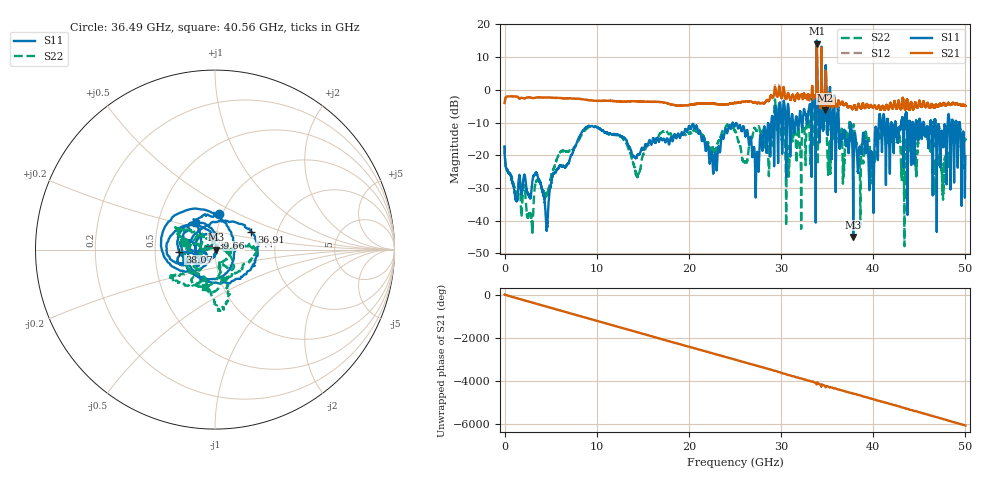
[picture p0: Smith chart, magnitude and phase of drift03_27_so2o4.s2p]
!Created with skrf (http://scikit-rf.org).
# Hz S RI R 50.0
!freq ReS11 ImS11 ReS21 ImS21 ReS12 ImS12 ReS22 ImS22
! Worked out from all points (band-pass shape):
!   10001 points, 300 kHz to 50 GHz, reference 50 ohm
!   highest |S21| = 14.14 dB at 33.88 GHz (marker M1); lowest = -6.3 dB at 34.79 GHz (marker M2)
!   |S21| within 3 dB of the highest: 33.86918 GHz to 33.88908 GHz (19.89 MHz wide, 0.0587 % of centre); 34.37676 GHz to 34.39035 GHz (13.59 MHz wide, 0.0395 % of centre)
!   lowest |S11| = -45.0 dB at 37.83 GHz (marker M3), VSWR 1.01, Z = 50.6 - j0.0977 ohm
!   |S11| at or under -10 dB: start of sweep to 28.94 GHz; 36.27 GHz to 40.61 GHz (4.341 GHz wide, 11.3 % of centre); 46.74 GHz to 48.08 GHz (1.339 GHz wide, 2.82 % of centre) (the widest 3 of 59)
!   |S22| runs from -47.8 to 10.6 dB; largest |S21 - S12| = 0.81
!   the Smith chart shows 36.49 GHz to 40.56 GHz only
!   S11 on the Smith chart (normalised r, x): 36.49 GHz: 0.96, +0.39; 36.91 GHz: 1.47, +0.31; 38.07 GHz: 0.67, -0.02; 39.66 GHz: 0.95, +0.13; 40.56 GHz: 0.77, +0.24
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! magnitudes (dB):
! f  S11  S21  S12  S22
! 300 kHz  -17.4  -4.0  -4.1  -17.1
! 2.825 GHz  -32.6  -2.4  -2.4  -38.4
! 4.565 GHz  -41.9  -2.3  -2.4  -32.1
! 8.335 GHz  -13.1  -2.8  -2.8  -13.9
! 14.43 GHz  -20.0  -3.5  -3.5  -26.4
! 16.67 GHz  -15.5  -3.7  -3.7  -14.3
! 22.82 GHz  -19.4  -4.3  -4.3  -19.1
! 25 GHz  -11.0  -4.0  -4.0  -12.6
! 27.39 GHz  -19.4  -4.1  -4.1  -12.4
! 29.6 GHz  -10.4  -2.0  -2.1  -11.7
! 30.7 GHz  -5.6  -1.4  -1.5  -17.2
! 33.34 GHz  -14.2  -0.5  -0.6  -7.3
! 33.88 GHz  15.1  14.1  13.8  10.6
! 34.79 GHz  -3.1  -6.3  -5.0  -8.7
! 36.49 GHz  -14.1  -4.4  -4.4  -15.0
! 36.91 GHz  -12.9  -4.5  -4.6  -19.5
! 37.83 GHz  -45.0  -5.5  -5.5  -11.1
! 38.07 GHz  -14.0  -5.4  -5.3  -16.9
! 39.66 GHz  -23.1  -4.9  -4.8  -18.7
! 40.56 GHz  -14.7  -5.0  -5.0  -13.3
! 41.67 GHz  -12.2  -6.0  -5.9  -15.0
! 50 GHz  -20.3  -4.9  -4.8  -15.1
